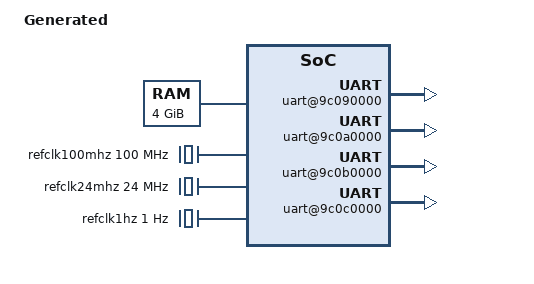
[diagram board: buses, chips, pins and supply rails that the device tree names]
/dts-v1/;

/ {

        #address-cells = <0x2>;
        #size-cells = <0x2>;
        interrupt-parent = <0x1>;
        model = "Generated";
        compatible = "arm,base";

        memory@0 {
                #address-cells = <0x2>;
                #size-cells = <0x2>;
                device_type = "memory";
                reg = <0x0        0x0        0x0 0x80000000>,
                      <0x00000008 0x80000000 0x0 0x80000000>;
        };

        cpus {
                #address-cells = <0x2>;
                #size-cells = <0x0>;

                cpu-map {
                        cluster0 {
                                core0 { thread0 { cpu = <&CPU_0>; }; };
                                core1 { thread0 { cpu = <&CPU_1>; }; };
                                core2 { thread0 { cpu = <&CPU_2>; }; };
                                core3 { thread0 { cpu = <&CPU_3>; }; };
                        };
                };

                CPU_0: cpu@0 {
                        device_type = "cpu";
                        compatible = "arm,armv8";
                        reg = <0x0 0x0>;
                        enable-method = "spin-table";
                        cpu-release-addr = <0x0 0x7f800>;
                };

                CPU_1: cpu@1 {
                        device_type = "cpu";
                        compatible = "arm,armv8";
                        reg = <0x0 0x1>;
                        enable-method = "spin-table";
                        cpu-release-addr = <0x0 0x7f808>;
                };

                CPU_2: cpu@2 {
                        device_type = "cpu";
                        compatible = "arm,armv8";
                        reg = <0x0 0x2>;
                        enable-method = "spin-table";
                        cpu-release-addr = <0x0 0x7f810>;
                };

                CPU_3: cpu@3 {
                        device_type = "cpu";
                        compatible = "arm,armv8";
                        reg = <0x0 0x3>;
                        enable-method = "spin-table";
                        cpu-release-addr = <0x0 0x7f818>;
                };
        };

        interrupt-controller@af000000 {
                compatible = "arm,gic-v3";
                #interrupt-cells = <0x3>;
                #address-cells = <0x2>;
                #size-cells = <0x2>;
                ranges;
                interrupt-controller;
                #redistributor-regions = <0x1>;
                reg = <0x0 0xaf000000 0x0 0x10000>,     // GICD
                      <0x0 0xaf100000 0x0 0x100000>,    // GICR
                      <0x0 0xac000000 0x0 0x2000>,      // GICC
                      <0x0 0xac010000 0x0 0x2000>,      // GICH
                      <0x0 0xac02f000 0x0 0x2000>;      // GICV
                interrupts = <0x1 9 0x4>;
                linux,phandle = <0x1>;
                phandle = <0x1>;

                its: msi-controller@2f020000 {
                        #msi-cells = <1>;
                        compatible = "arm,gic-v3-its";
                        reg = <0x0 0xaf020000 0x0 0x20000>; // GITS
                        msi-controller;
                };

        };

        refclk100mhz: refclk100mhz {
                compatible = "fixed-clock";
                #clock-cells = <0>;
                clock-frequency = <100000000>;
                clock-output-names = "apb_pclk";
        };

        refclk24mhz: refclk24mhz {
                compatible = "fixed-clock";
                #clock-cells = <0>;
                clock-frequency = <24000000>;
                clock-output-names = "refclk24mhz";
        };

        refclk1hz: refclk1hz {
                compatible = "fixed-clock";
                #clock-cells = <0>;
                clock-frequency = <1>;
                clock-output-names = "refclk1hz";
        };

        uart@9c090000 {
                compatible = "arm,pl011", "arm,primecell";
                reg = <0x0 0x9c090000 0x0 0x1000>;
                interrupts = <0x0 5 0x4>;
                clocks = <&refclk24mhz>, <&refclk100mhz>;
                clock-names = "uartclk", "apb_pclk";
        };

        uart@9c0a0000 {
                compatible = "arm,pl011", "arm,primecell";
                reg = <0x0 0x9c0a0000 0x0 0x1000>;
                interrupts = <0x0 6 0x4>;
                clocks = <&refclk24mhz>, <&refclk100mhz>;
                clock-names = "uartclk", "apb_pclk";
        };

        uart@9c0b0000 {
                compatible = "arm,pl011", "arm,primecell";
                reg = <0x0 0x9c0b0000 0x0 0x1000>;
                interrupts = <0x0 7 0x4>;
                clocks = <&refclk24mhz>, <&refclk100mhz>;
                clock-names = "uartclk", "apb_pclk";
        };

        uart@9c0c0000 {
                compatible = "arm,pl011", "arm,primecell";
                reg = <0x0 0x9c0c0000 0x0 0x1000>;
                interrupts = <0x0 8 0x4>;
                clocks = <&refclk24mhz>, <&refclk100mhz>;
                clock-names = "uartclk", "apb_pclk";
        };

        wdt@9c0f0000 {
                compatible = "arm,sp805", "arm,primecell";
                reg = <0x0 0x9c0f0000 0x0 0x1000>;
                interrupts = <0x0 0 0x4>;
                clocks = <&refclk24mhz>, <&refclk100mhz>;
                clock-names = "wdog_clk", "apb_pclk";
        };

        rtc@9c170000 {
                compatible = "arm,pl031", "arm,primecell";
                reg = <0x0 0x9c170000 0x0 0x1000>;
                interrupts = <0x0 4 0x4>;
                clocks = <&refclk1hz>;
                clock-names = "apb_pclk";
        };

        virtio-block@9c130000 {
                compatible = "virtio,mmio";
                reg = <0 0x9c130000 0 0x200>;
                interrupts = <0x0 42 0x4>;
        };

        virtio-p9@9c140000{
                compatible = "virtio,mmio";
                reg = <0x0 0x9c140000 0x0 0x1000>;
                interrupts = <0x0 43 0x4>;
        };

        virtio-net@9c150000 {
                compatible = "virtio,mmio";
                reg = <0 0x9c150000 0 0x200>;
                interrupts = <0x0 44 0x4>;
        };

        virtio-rng@9c200000 {
                compatible = "virtio,mmio";
                reg = <0 0x9c200000 0 0x200>;
                interrupts = <0x0 46 0x4>;
        };

        timer {
                compatible = "arm,armv8-timer";
                interrupts = <0x1 13 0xff08>,
                             <0x1 14 0xff08>,
                             <0x1 11 0xff08>,
                             <0x1  4 0xff08>;
                clock-frequency = <100000000>;
        };

        aliases {
                serial0 = "/uart@9c090000";
                serial1 = "/uart@9c0a0000";
                serial2 = "/uart@9c0b0000";
                serial3 = "/uart@9c0c0000";
        };

        pmu {
                compatible = "arm,armv8-pmuv3";
                interrupts = <0 60 4>,
                             <0 61 4>,
                             <0 62 4>,
                             <0 63 4>;
        };

        chosen {
                bootargs = "earlycon console=ttyAMA0 loglevel=8 rootfstype=ext4 root=/dev/vda1 rw";
                stdout-path = "serial0";
        };
};
